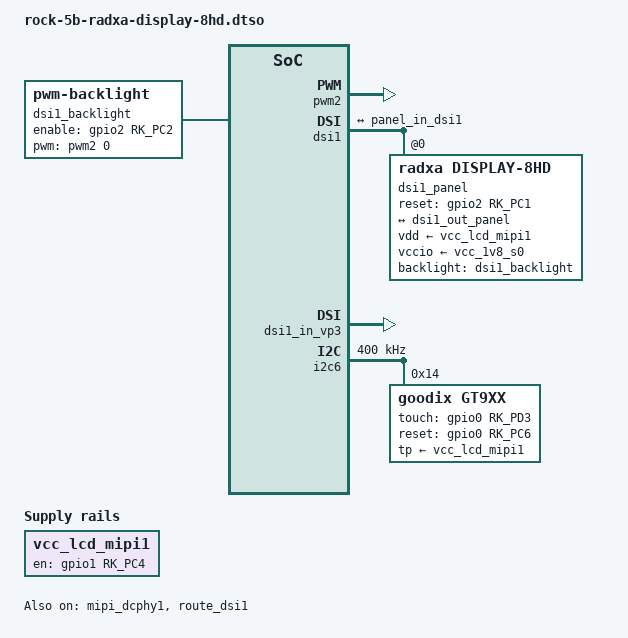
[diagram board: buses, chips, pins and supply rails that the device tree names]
/dts-v1/;
/plugin/;

#include <dt-bindings/interrupt-controller/irq.h>
#include <dt-bindings/gpio/gpio.h>
#include <dt-bindings/pinctrl/rockchip.h>

/ {
	metadata {
		title ="Enable Radxa Display 8HD";
		compatible = "radxa,rock-5b";
		category = "display";
		exclusive = "dsi1";
		description = "Enable Radxa Display 8HD.";
	};

	fragment@0 {
		target-path = "/";

		__overlay__ {
			vcc_lcd_mipi1: vcc-lcd-mipi1 {
				status = "okay";
				compatible = "regulator-fixed";
				regulator-name = "vcc_lcd_mipi1";
				gpio = <&gpio1 RK_PC4 GPIO_ACTIVE_HIGH>;
				enable-active-high;
				regulator-boot-on;
				regulator-state-mem {
					regulator-off-in-suspend;
				};
			};

			dsi1_backlight: dsi1-backlight {
				status = "okay";
				compatible = "pwm-backlight";
				pwms = <&pwm2 0 25000 0>;
				brightness-levels = <
					255 254 253 252 251 250 249 248
					247 246 245 244 243 242 241 240
					239 238 237 236 235 234 233 232
					231 230 229 228 227 226 225 224
					223 222 221 220 219 218 217 216
					215 214 213 212 211 210 209 208
					207 206 205 204 203 202 201 200
					199 198 197 196 195 194 193 192
					191 190 189 188 187 186 185 184
					183 182 181 180 179 178 177 176
					175 174 173 172 171 170 169 168
					167 166 165 164 163 162 161 160
					159 158 157 156 155 154 153 152
					151 150 149 148 147 146 145 144
					143 142 141 140 139 138 137 136
					135 134 133 132 131 130 129 128
					127 126 125 124 123 122 121 120
					119 118 117 116 115 114 113 112
					111 110 109 108 107 106 105 104
					103 102 101 100  99  98  97  96
					 95  94  93  92  91  90  89  88
					 87  86  85  84  83  82  81  80
					 79  78  77  76  75  74  73  72
					 71  70  69  68  67  66  65  64
					 63  62  61  60  59  58  57  56
					 55  54  53  52  51  50  49  48
					 47  46  45  44  43  42  41  40
					 39  38  38  37  37  36  36  35
					 35  34  34  33  33  32  32  31
					 31  30  30  29  29  28  28  27
					 27  26  26  25  25  24  24  23
					 23  22  22  21  21  20  20   0
				>;
				default-brightness-level = <200>;
				enable-gpios = <&gpio2 RK_PC2 GPIO_ACTIVE_HIGH>;
				pinctrl-names = "default";
				pinctrl-0 = <&dsi1_backlight_en>;
			};
		};
	};

	fragment@1 {
		target = <&pwm2>;

		__overlay__ {
			status = "okay";
			pinctrl-names = "active";
			pinctrl-0 = <&pwm2m2_pins>;
		};
	};

	fragment@2 {
		target = <&dsi1>;

		__overlay__ {
			status = "okay";
			rockchip,lane-rate = <480>;
			#address-cells = <1>;
			#size-cells = <0>;

			dsi1_panel: panel@0 {
				status = "okay";
				compatible = "radxa,display-8hd";
				reg = <0>;
				backlight = <&dsi1_backlight>;

				vdd-supply = <&vcc_lcd_mipi1>;
				vccio-supply = <&vcc_1v8_s0>;
				reset-gpios = <&gpio2 RK_PC1 GPIO_ACTIVE_HIGH>;
				pinctrl-names = "default";
				pinctrl-0 = <&dsi1_lcd_rst_gpio>;

				ports {
					#address-cells = <1>;
					#size-cells = <0>;

					port@0 {
						reg = <0>;
						panel_in_dsi1: endpoint {
							remote-endpoint = <&dsi1_out_panel>;
						};
					};
				};
			};

			ports {
				#address-cells = <1>;
				#size-cells = <0>;

				port@1 {
					reg = <1>;
					dsi1_out_panel: endpoint {
						remote-endpoint = <&panel_in_dsi1>;
					};
				};
			};
		};
	};

	fragment@3 {
		target = <&mipi_dcphy1>;

		__overlay__ {
			status = "okay";
		};
	};

	fragment@4 {
		target = <&route_dsi1>;

		__overlay__ {
			status = "okay";
			connect = <&vp3_out_dsi1>;
		};
	};

	fragment@5 {
		target = <&dsi1_in_vp2>;

		__overlay__ {
			status = "disabled";
		};
	};

	fragment@6 {
		target = <&dsi1_in_vp3>;

		__overlay__ {
			status = "okay";
		};
	};

	fragment@7 {
		target = <&i2c6>;

		__overlay__ {
			status = "okay";
			pinctrl-names = "default";
			pinctrl-0 = <&i2c6m0_xfer>;
			clock-frequency = <400000>;
			#address-cells = <1>;
			#size-cells = <0>;

			gt9xx: gt9xx@14 {
				compatible = "goodix,gt9xx";
				reg = <0x14>;
				pinctrl-names = "default";
				pinctrl-0 = <&gt9xx_gpio>;
				touch-gpio = <&gpio0 RK_PD3 IRQ_TYPE_LEVEL_HIGH>;
				reset-gpio = <&gpio0 RK_PC6 GPIO_ACTIVE_HIGH>;
				max-x = <800>;
				max-y = <1280>;
				tp-size = <9112>;
				tp-supply = <&vcc_lcd_mipi1>;
			};
		};
	};

	fragment@8 {
		target = <&pinctrl>;

		__overlay__ {
			dsi1-lcd {
				dsi1_lcd_rst_gpio: dsi1-lcd-rst-gpio {
					rockchip,pins = <2 RK_PC1 RK_FUNC_GPIO &pcfg_pull_up>;
				};

				dsi1_backlight_en: dsi1-backlight-en {
					rockchip,pins = <2 RK_PC2 RK_FUNC_GPIO &pcfg_pull_up>;
				};
			};

			gt9xx {
				gt9xx_gpio: gt9xx-gpio {
					rockchip,pins =
						<0 RK_PC6 RK_FUNC_GPIO &pcfg_pull_none>,
						<0 RK_PD3 RK_FUNC_GPIO &pcfg_pull_up>;
				};
			};
		};
	};
};
